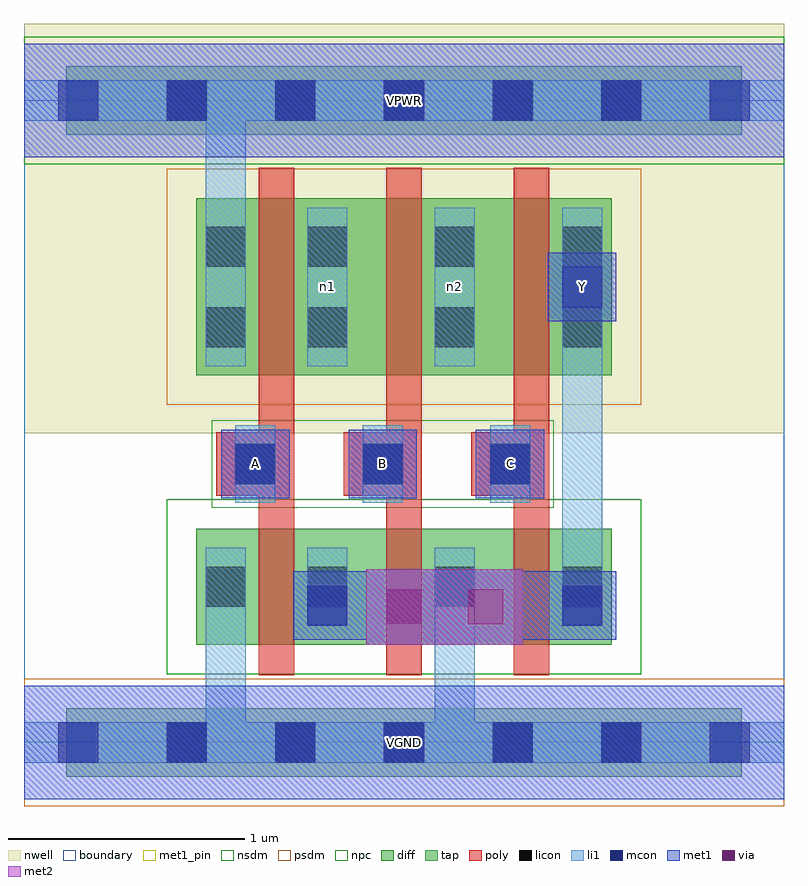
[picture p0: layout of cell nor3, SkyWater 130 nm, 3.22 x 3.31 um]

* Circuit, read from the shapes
.subckt nor3 A B C VGND VPWR Y n1 n2
XM1 Y A VGND VGND sky130_fd_pr__nfet_01v8 w=0.49 l=0.15
XM2 VGND B Y VGND sky130_fd_pr__nfet_01v8 w=0.49 l=0.15
XM3 Y C VGND VGND sky130_fd_pr__nfet_01v8 w=0.49 l=0.15
XM4 n1 A VPWR VPWR sky130_fd_pr__pfet_01v8 w=0.75 l=0.15
XM5 n2 B n1 VPWR sky130_fd_pr__pfet_01v8 w=0.75 l=0.15
XM6 Y C n2 VPWR sky130_fd_pr__pfet_01v8 w=0.75 l=0.15
.ends

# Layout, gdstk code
import gdstk
lib = gdstk.Library(unit=1e-6, precision=1e-09)
def R(c, l, rs):  # rectangles x0, y0, x1, y1
    for r in rs: c.add(gdstk.rectangle(r[:2], r[2:], *l))
def A(c, l, x, y, w, h, nx, ny, dx, dy):  # array of equal rectangles
    R(c, l, [(x+i*dx, y+j*dy, x+i*dx+w, y+j*dy+h) for i in range(nx) for j in range(ny)])
nwell = (64, 20)
diff = (65, 20)
tap = (65, 44)
poly = (66, 20)
licon = (66, 44)
li1 = (67, 20)
mcon = (67, 44)
met1_pin = (68, 16)
met1 = (68, 20)
via = (68, 44)
met2 = (69, 20)
nsdm = (93, 44)
psdm = (94, 20)
npc = (95, 20)
boundary = (235, 4)

nor3 = lib.new_cell('nor3')
R(nor3, nwell, [(0,1.31,3.22,3.045)])
R(nor3, diff, [(0.73,0.415,2.49,0.905), (0.73,1.555,2.49,2.305)])
R(nor3, tap, [(0.18,-0.145,3.04,0.145), (0.18,2.575,3.04,2.865)])
A(nor3, poly, 0.995, 0.285, 0.15, 2.15, 3, 1, 0.54, 0)
A(nor3, poly, 0.815, 1.045, 0.33, 0.27, 3, 1, 0.54, 0)
A(nor3, licon, 0.605, -0.085, 0.17, 0.17, 5, 2, 0.46, 2.72)
A(nor3, licon, 1.2, 0.575, 0.17, 0.17, 3, 2, 0.54, 1.1)
A(nor3, licon, 0.895, 1.095, 0.17, 0.17, 3, 1, 0.54, 0)
A(nor3, licon, 1.2, 2.015, 0.17, 0.17, 3, 1, 0.54, 0)
R(nor3, licon, [(0.77,0.575,0.94,0.745), (0.77,1.675,0.94,1.845), (0.77,2.015,0.94,2.185)])
A(nor3, li1, 1.2, 0.495, 0.17, 0.33, 3, 1, 0.54, 0)
A(nor3, li1, 0.895, 1.015, 0.17, 0.33, 3, 1, 0.54, 0)
A(nor3, li1, 1.2, 1.595, 0.17, 0.67, 3, 1, 0.54, 0)
R(nor3, li1, [(0,-0.085,3.22,0.085), (0.77,-0.085,0.94,0.825), (1.74,-0.085,1.91,0.825), (0.77,0.495,0.94,0.825), (2.28,0.495,2.45,2.265), (0.77,1.595,0.94,2.265), (0.77,1.595,0.94,2.805), (0,2.635,3.22,2.805)])
A(nor3, mcon, 0.145, -0.085, 0.17, 0.17, 7, 2, 0.46, 2.72)
A(nor3, mcon, 0.895, 1.095, 0.17, 0.17, 3, 1, 0.54, 0)
R(nor3, mcon, [(1.2,0.495,1.37,0.665), (2.28,0.495,2.45,0.665), (2.28,1.845,2.45,2.015)])
A(nor3, met1_pin, 0.835, 1.035, 0.29, 0.29, 3, 1, 0.54, 0)
R(nor3, met1_pin, [(0,-0.24,3.22,0.24), (2.22,1.785,2.51,2.075), (0,2.48,3.22,2.96)])
A(nor3, met1, 0.835, 1.035, 0.29, 0.29, 3, 1, 0.54, 0)
R(nor3, met1, [(0,-0.24,3.22,0.24), (1.45,0.415,1.77,0.735), (1.77,0.415,1.795,0.735), (1.795,0.415,2.115,0.735), (1.14,0.435,1.43,0.725), (1.43,0.435,1.45,0.725), (2.115,0.435,2.22,0.725), (2.22,0.435,2.51,0.725), (1.31,0.505,1.45,0.65), (1.31,0.505,1.68,0.645), (1.68,0.505,1.795,0.645), (1.77,0.505,1.885,0.645), (1.885,0.505,2.255,0.645), (2.115,0.505,2.255,0.65), (1.215,0.51,1.45,0.65), (2.115,0.51,2.435,0.65), (2.22,1.785,2.51,2.075), (0,2.48,3.22,2.96)])
R(nor3, via, [(1.535,0.5,1.685,0.65), (1.88,0.5,2.03,0.65)])
R(nor3, met2, [(1.45,0.415,1.77,0.735), (1.77,0.415,1.795,0.735), (1.795,0.415,2.115,0.735), (1.54,0.505,2.025,0.645)])
R(nor3, nsdm, [(0.605,0.29,2.615,1.03), (0,2.45,3.22,2.99)])
R(nor3, psdm, [(0,-0.27,3.22,0.27), (0.605,1.43,2.615,2.43)])
R(nor3, npc, [(0.795,0.995,2.245,1.365)])
R(nor3, boundary, [(0,0,3.22,2.72)])
nor3.add(gdstk.Label('n1', (1.285,1.93), layer=67, texttype=5))
nor3.add(gdstk.Label('n2', (1.825,1.93), layer=67, texttype=5))
nor3.add(gdstk.Label('A', (0.98,1.18), layer=68, texttype=5))
nor3.add(gdstk.Label('B', (1.52,1.18), layer=68, texttype=5))
nor3.add(gdstk.Label('C', (2.06,1.18), layer=68, texttype=5))
nor3.add(gdstk.Label('Y', (2.365,1.93), layer=68, texttype=5))
nor3.add(gdstk.Label('VPWR', (1.61,2.72), layer=68, texttype=5))
nor3.add(gdstk.Label('VGND', (1.61,0), layer=68, texttype=5))
nor3.add(gdstk.Label('A', (0.98,1.18), layer=68, texttype=16))
nor3.add(gdstk.Label('B', (1.52,1.18), layer=68, texttype=16))
nor3.add(gdstk.Label('C', (2.06,1.18), layer=68, texttype=16))
nor3.add(gdstk.Label('Y', (2.365,1.93), layer=68, texttype=16))
nor3.add(gdstk.Label('VPWR', (1.61,2.72), layer=68, texttype=16))
nor3.add(gdstk.Label('VGND', (1.61,0), layer=68, texttype=16))

lib.write_gds('nor3.gds')
